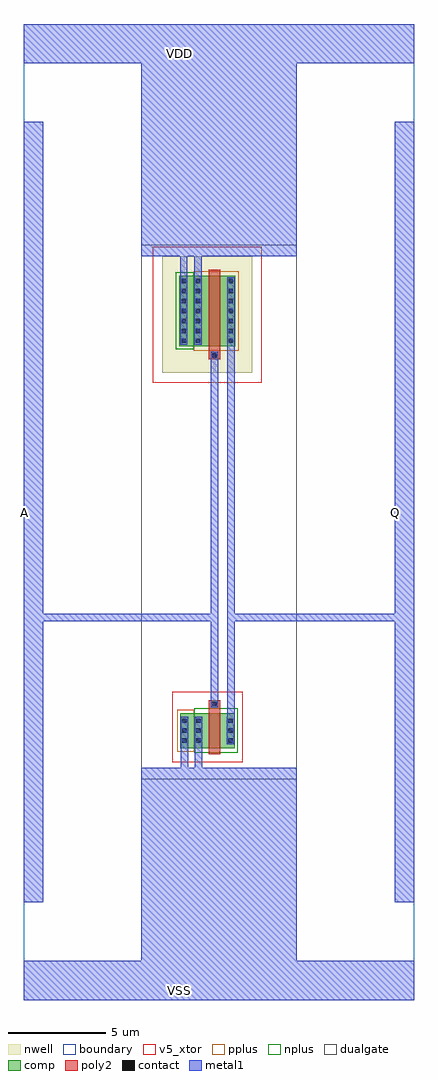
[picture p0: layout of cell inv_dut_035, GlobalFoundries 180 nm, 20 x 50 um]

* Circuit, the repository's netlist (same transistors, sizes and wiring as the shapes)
* inv_dut_035: pfet_05v0 W=3.60u L=0.60u / nfet_05v0 W=1.80u L=0.60u
.SUBCKT inv_dut_035 A Q VDD VSS
MMP Q A VDD VDD pfet_05v0 W=3.60u L=0.60u
MMN Q A VSS VSS nfet_05v0 W=1.80u L=0.60u
.ENDS

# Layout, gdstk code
import gdstk
lib = gdstk.Library(unit=1e-6, precision=1e-09)
def R(c, l, rs):  # rectangles x0, y0, x1, y1
    for r in rs: c.add(gdstk.rectangle(r[:2], r[2:], *l))
def A(c, l, x, y, w, h, nx, ny, dx, dy):  # array of equal rectangles
    R(c, l, [(x+i*dx, y+j*dy, x+i*dx+w, y+j*dy+h) for i in range(nx) for j in range(ny)])
boundary = (0, 0)
nwell = (21, 0)
comp = (22, 0)
poly2 = (30, 0)
pplus = (31, 0)
nplus = (32, 0)
contact = (33, 0)
metal1 = (34, 0)
dualgate = (55, 0)
v5_xtor = (112, 1)

inv_dut_035 = lib.new_cell('inv_dut_035')
R(inv_dut_035, boundary, [(-10,-25,10,25)])
R(inv_dut_035, nwell, [(-2.895,7.13,1.695,13.09)])
R(inv_dut_035, comp, [(-1.975,-12.1,0.795,-10.3), (-2.035,8.5,0.835,12.1)])
R(inv_dut_035, poly2, [(-0.535,-12.4,0.065,-9.64), (-0.535,7.82,0.065,12.4)])
R(inv_dut_035, pplus, [(-2.145,-12.27,-1.265,-10.13), (-1.305,8.26,1.005,12.34)])
R(inv_dut_035, nplus, [(-1.265,-12.34,0.965,-10.06), (-2.205,8.33,-1.305,12.27)])
A(inv_dut_035, contact, -1.875, -11.82, 0.22, 0.22, 1, 3, 0, 0.51)
A(inv_dut_035, contact, -1.165, -11.82, 0.22, 0.22, 1, 3, 0, 0.51)
A(inv_dut_035, contact, 0.475, -11.82, 0.22, 0.22, 1, 3, 0, 0.51)
A(inv_dut_035, contact, -1.915, 8.66, 0.22, 0.22, 1, 7, 0, 0.51)
A(inv_dut_035, contact, -1.185, 8.66, 0.22, 0.22, 1, 7, 0, 0.51)
A(inv_dut_035, contact, 0.495, 8.66, 0.22, 0.22, 1, 7, 0, 0.51)
R(inv_dut_035, contact, [(-0.345,-9.93,-0.125,-9.71), (-0.345,7.9,-0.125,8.12)])
R(inv_dut_035, metal1, [(-10,-25,10,-23), (-3.995,-23,3.995,-13.4), (-10,-20,-9,20), (9,-20,10,20), (-3.995,-13.7,3.995,-13.1), (-1.955,-13.7,-1.575,-10.5), (-1.245,-13.7,-0.865,-10.5), (-1.955,-11.9,-1.575,-10.5), (-1.245,-11.9,-0.865,-10.5), (0.395,-11.9,0.775,-10.5), (0.395,-10.88,0.795,-10.5), (0.415,-10.88,0.795,8.96), (-0.425,-10.01,-0.045,8.2), (-0.425,-10.01,-0.045,-9.63), (-9,-5.6,-3.695,-5.2), (-3.995,-5.6,-0.045,-5.2), (0.415,-5.6,3.995,-5.2), (3.695,-5.6,9,-5.2), (-0.425,7.82,-0.045,8.2), (-1.995,8.58,-1.615,13.7), (-1.995,8.58,-1.615,12.02), (-1.265,8.58,-0.885,13.7), (-1.265,8.58,-0.885,12.02), (0.415,8.58,0.795,8.96), (0.415,8.58,0.795,12.02), (-3.995,13.1,3.995,13.7), (-3.995,13.4,3.995,23), (-10,23,10,25)])
R(inv_dut_035, dualgate, [(-3.995,-13.7,3.995,13.7), (-2.395,-12.81,1.215,-9.22), (-3.395,6.63,2.195,13.59)])
R(inv_dut_035, v5_xtor, [(-2.395,-12.81,1.215,-9.22), (-3.395,6.63,2.195,13.59)])
inv_dut_035.add(gdstk.Label('VDD', (-2,23.5), layer=34, texttype=10))
inv_dut_035.add(gdstk.Label('VSS', (-2,-24.5), layer=34, texttype=10))
inv_dut_035.add(gdstk.Label('A', (-9.97,0), layer=34, texttype=10))
inv_dut_035.add(gdstk.Label('Q', (9.03,0), layer=34, texttype=10))

lib.write_gds('inv_dut_035.gds')
